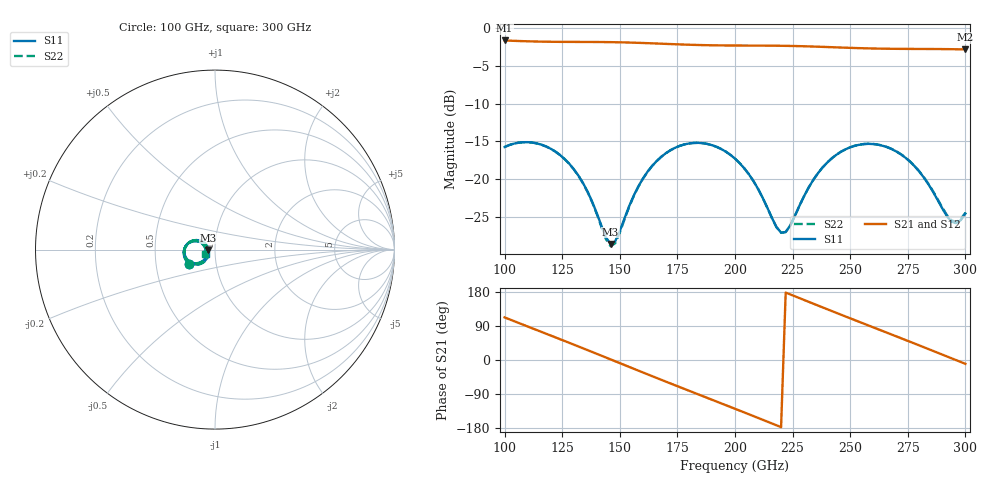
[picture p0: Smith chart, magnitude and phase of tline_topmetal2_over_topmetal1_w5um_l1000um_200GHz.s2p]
#  GHZ S DB R 50
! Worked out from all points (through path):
!   101 points, 100 GHz to 300 GHz, reference 50 ohm
!   highest |S21| = -1.65 dB at 100 GHz (marker M1); lowest = -2.8 dB at 300 GHz (marker M2)
!   group delay of S21, straight-line fit = 6.71 ps
!   lowest |S11| = -28.6 dB at 146 GHz (marker M3), VSWR 1.08, Z = 46.4 - j0.245 ohm
!   |S11| at or under -10 dB: start of sweep to end of sweep
!   |S22| runs from -28.9 to -15.1 dB; largest |S21 - S12| = 1.4e-13
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100  -15.74 -150.8  -1.65 112.4  -1.65 112.4  -15.74 -150.7
108  -15.11 -167.0  -1.74 93.2  -1.74 93.2  -15.11 -166.9
116  -15.44 177.1  -1.80 74.2  -1.80 74.2  -15.44 177.1
126  -17.32 159.0  -1.83 50.3  -1.83 50.3  -17.33 158.8
134  -20.50 148.8  -1.84 30.9  -1.84 30.9  -20.53 148.5
146  -28.58 -175.9  -1.87 1.6  -1.87 1.6  -28.87 -175.8
148  -28.22 -158.3  -1.88 -3.3  -1.88 -3.3  -28.48 -157.4
156  -22.21 -131.7  -1.94 -23.0  -1.94 -23.0  -22.26 -130.6
168  -17.03 -144.3  -2.08 -52.2  -2.08 -52.2  -17.04 -143.5
184  -15.19 -173.2  -2.25 -90.6  -2.25 -90.6  -15.19 -172.5
200  -17.28 159.3  -2.32 -128.7  -2.32 -128.7  -17.28 159.8
210  -21.28 150.2  -2.33 -152.8  -2.33 -152.8  -21.29 150.7
220  -27.07 -179.2  -2.35 -177.2  -2.35 -177.2  -27.10 -178.5
224  -26.11 -153.0  -2.37 173.0  -2.37 173.0  -26.14 -152.2
234  -20.09 -137.9  -2.45 148.6  -2.45 148.6  -20.09 -137.1
244  -16.77 -149.6  -2.56 124.4  -2.56 124.4  -16.77 -148.8
252  -15.58 -162.7  -2.64 105.2  -2.64 105.2  -15.57 -161.9
268  -16.02 170.3  -2.75 67.2  -2.75 67.2  -16.00 171.1
278  -18.30 156.7  -2.77 43.3  -2.77 43.3  -18.27 157.6
286  -21.70 154.0  -2.78 24.0  -2.78 24.0  -21.62 155.0
294  -25.62 176.7  -2.80 4.5  -2.80 4.5  -25.46 177.3
300  -24.56 -153.0  -2.83 -10.1  -2.83 -10.1  -24.45 -153.1
